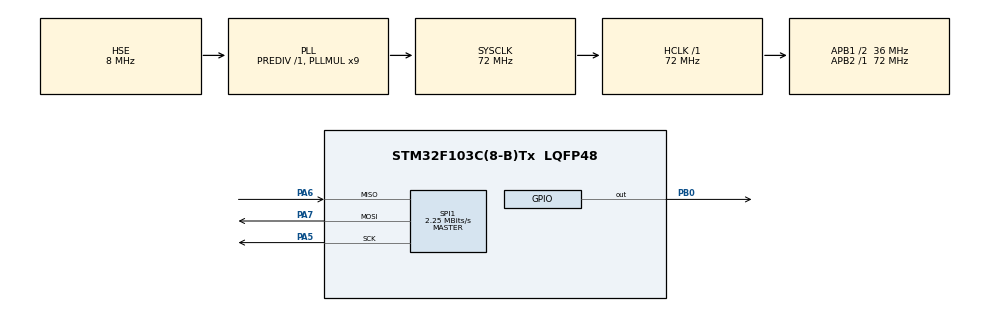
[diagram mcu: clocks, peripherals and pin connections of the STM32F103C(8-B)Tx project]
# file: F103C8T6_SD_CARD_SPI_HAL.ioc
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FATFS._MAX_SS=4096
FATFS._USE_LFN=1
Mcu.Family=STM32F1
Mcu.Name=STM32F103C(8-B)Tx
Mcu.Package=LQFP48
NVIC.PriorityGroup=NVIC_PRIORITYGROUP_4
PA13.Mode=Serial_Wire
PA13.Signal=SYS_JTMS-SWDIO
PA14.Mode=Serial_Wire
PA14.Signal=SYS_JTCK-SWCLK
PA5.Mode=Full_Duplex_Master
PA5.Signal=SPI1_SCK
PA6.Mode=Full_Duplex_Master
PA6.Signal=SPI1_MISO
PA7.Mode=Full_Duplex_Master
PA7.Signal=SPI1_MOSI
PB0.Signal=GPIO_Output
PD0-OSC_IN.Mode=HSE-External-Oscillator
PD0-OSC_IN.Signal=RCC_OSC_IN
PD1-OSC_OUT.Mode=HSE-External-Oscillator
PD1-OSC_OUT.Signal=RCC_OSC_OUT
ProjectManager.HeapSize=0x200
ProjectManager.StackSize=0x400
ProjectManager.TargetToolchain=STM32CubeIDE
RCC.AHBFreq_Value=72000000
RCC.APB1CLKDivider=RCC_HCLK_DIV2
RCC.APB1Freq_Value=36000000
RCC.APB1TimFreq_Value=72000000
RCC.APB2Freq_Value=72000000
RCC.APB2TimFreq_Value=72000000
RCC.HCLKFreq_Value=72000000
RCC.PLLMUL=RCC_PLL_MUL9
RCC.PLLSourceVirtual=RCC_PLLSOURCE_HSE
RCC.SYSCLKFreq_VALUE=72000000
RCC.SYSCLKSource=RCC_SYSCLKSOURCE_PLLCLK
RCC.USBFreq_Value=72000000
SPI1.BaudRatePrescaler=SPI_BAUDRATEPRESCALER_32
SPI1.CalculateBaudRate=2.25 MBits/s
SPI1.Direction=SPI_DIRECTION_2LINES
SPI1.Mode=SPI_MODE_MASTER
SPI1.VirtualType=VM_MASTER
VP_FATFS_VS_Generic.Mode=User_defined
board=custom

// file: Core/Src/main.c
/* USER CODE BEGIN Header */
/**
  ******************************************************************************
  * @file           : main.c
  * @brief          : Main program body
  ******************************************************************************
  * @attention
  *
  * Copyright (c) 2022 STMicroelectronics.
  * All rights reserved.
  *
  * This software is licensed under terms that can be found in the LICENSE file
  * in the root directory of this software component.
  * If no LICENSE file comes with this software, it is provided AS-IS.
  *
  ******************************************************************************
  */
/* USER CODE END Header */
#include "main.h"
#include "fatfs.h"
#include "fatfs_sd.h"
#include "string.h"
#include "stdio.h"

/* USER CODE BEGIN PD */
/*-----My Configs-----
   Pin_A5 : SPI_SCK
   Pin_A6 : SPI_MISO
   Pin_A7 : SPI_MOSI
   Pin_B0 : CS
 */
FATFS fs;
FATFS *pfs;
FIL fil;
FRESULT fres;
DWORD fre_clust;
uint32_t total, free;
UINT br, bw;  // File read/write count
#define BUFFER_SIZE 128
char buffer[BUFFER_SIZE];  // to store strings..

int i=0;

int bufsize (char *buf)
{
	int i=0;
	while (*buf++ != '\0') i++;
	return i;
}
/* USER CODE END PD */

 SPI_HandleTypeDef hspi1;

void SystemClock_Config(void);
static void MX_GPIO_Init(void);
static void MX_SPI1_Init(void);

int main(void)
{

  /* MCU Configuration--------------------------------------------------------*/

  /* Reset of all peripherals, Initializes the Flash interface and the Systick. */
  HAL_Init();

  /* Configure the system clock */
  SystemClock_Config();

  /* Initialize all configured peripherals */
  MX_GPIO_Init();
  MX_SPI1_Init();
  MX_FATFS_Init();
  /* USER CODE BEGIN 2 */
  HAL_Delay(500);

    /* Mount SD Card - SD Kartı Tak*/
    f_mount(&fs, "", 0);

    /* Check free space - SD Kartın Hafıza Kontrolü Yapılır */
    f_getfree("", &fre_clust, &pfs);
    total = (uint32_t)((pfs->n_fatent - 2) * pfs->csize * 0.5);
    free = (uint32_t)(fre_clust * pfs->csize * 0.5);

    /* Open file to write - SD Kart Yazmak İçin Açılır */
    f_open(&fil, "my_write.txt", FA_OPEN_ALWAYS | FA_READ | FA_WRITE);

    /* Açtığımız .txt uzantılı dosyaya yazma işlemleri*/
    f_puts("Hello my name's Mazlum Deniz Yuce\n", &fil);

    /* Close file - Açtığımız .txt uzantılı dosya kapatılır. */
    f_close(&fil);

    /* Open file to read - Dosya Okunmak İçin Açılır */
    f_open(&fil, "my_write.txt", FA_READ);

    //Dosyanın içindekeiler satır satır okunup buffer'a kaydedilir.
    f_gets(buffer, sizeof(buffer), &fil);

    /* Close file - Dosya kapatılır */
    f_close(&fil);

    /* Open file to write - SD Kart Yazmak İçin Açılır */
    f_open(&fil, "my_read.txt", FA_OPEN_ALWAYS | FA_READ | FA_WRITE);

    //Okuduğumuz karakterleri yeni açtığımız dosyaya yazarız.
    f_puts("Buffer Değeri ;\n", &fil);
    f_write(&fil, buffer, bufsize(buffer), &bw);

     /* Close file - Dosya kapatılır */
     f_close(&fil);

    /* Unmount SDCARD - SD Kart çıkartılır */
    f_mount(NULL, "", 1);

  /* USER CODE END 2 */

  /* Infinite loop */
  while (1)
  {

  }
}

void SystemClock_Config(void)
{
  RCC_OscInitTypeDef RCC_OscInitStruct = {0};
  RCC_ClkInitTypeDef RCC_ClkInitStruct = {0};

  /** Initializes the RCC Oscillators according to the specified parameters
  * in the RCC_OscInitTypeDef structure.
  */
  RCC_OscInitStruct.OscillatorType = RCC_OSCILLATORTYPE_HSE;
  RCC_OscInitStruct.HSEState = RCC_HSE_ON;
  RCC_OscInitStruct.HSEPredivValue = RCC_HSE_PREDIV_DIV1;
  RCC_OscInitStruct.HSIState = RCC_HSI_ON;
  RCC_OscInitStruct.PLL.PLLState = RCC_PLL_ON;
  RCC_OscInitStruct.PLL.PLLSource = RCC_PLLSOURCE_HSE;
  RCC_OscInitStruct.PLL.PLLMUL = RCC_PLL_MUL9;
  if (HAL_RCC_OscConfig(&RCC_OscInitStruct) != HAL_OK)
  {
    Error_Handler();
  }

  /** Initializes the CPU, AHB and APB buses clocks
  */
  RCC_ClkInitStruct.ClockType = RCC_CLOCKTYPE_HCLK|RCC_CLOCKTYPE_SYSCLK
                              |RCC_CLOCKTYPE_PCLK1|RCC_CLOCKTYPE_PCLK2;
  RCC_ClkInitStruct.SYSCLKSource = RCC_SYSCLKSOURCE_PLLCLK;
  RCC_ClkInitStruct.AHBCLKDivider = RCC_SYSCLK_DIV1;
  RCC_ClkInitStruct.APB1CLKDivider = RCC_HCLK_DIV2;
  RCC_ClkInitStruct.APB2CLKDivider = RCC_HCLK_DIV1;

  if (HAL_RCC_ClockConfig(&RCC_ClkInitStruct, FLASH_LATENCY_2) != HAL_OK)
  {
    Error_Handler();
  }
}

static void MX_SPI1_Init(void)
{

  /* SPI1 parameter configuration*/
  hspi1.Instance = SPI1;
  hspi1.Init.Mode = SPI_MODE_MASTER;
  hspi1.Init.Direction = SPI_DIRECTION_2LINES;
  hspi1.Init.DataSize = SPI_DATASIZE_8BIT;
  hspi1.Init.CLKPolarity = SPI_POLARITY_LOW;
  hspi1.Init.CLKPhase = SPI_PHASE_1EDGE;
  hspi1.Init.NSS = SPI_NSS_SOFT;
  hspi1.Init.BaudRatePrescaler = SPI_BAUDRATEPRESCALER_32;
  hspi1.Init.FirstBit = SPI_FIRSTBIT_MSB;
  hspi1.Init.TIMode = SPI_TIMODE_DISABLE;
  hspi1.Init.CRCCalculation = SPI_CRCCALCULATION_DISABLE;
  hspi1.Init.CRCPolynomial = 10;
  if (HAL_SPI_Init(&hspi1) != HAL_OK)
  {
    Error_Handler();
  }

}

static void MX_GPIO_Init(void)
{
  GPIO_InitTypeDef GPIO_InitStruct = {0};

  /* GPIO Ports Clock Enable */
  __HAL_RCC_GPIOD_CLK_ENABLE();
  __HAL_RCC_GPIOA_CLK_ENABLE();
  __HAL_RCC_GPIOB_CLK_ENABLE();

  /*Configure GPIO pin Output Level */
  HAL_GPIO_WritePin(GPIOB, GPIO_PIN_0, GPIO_PIN_RESET);

  /*Configure GPIO pin : PB0 */
  GPIO_InitStruct.Pin = GPIO_PIN_0;
  GPIO_InitStruct.Mode = GPIO_MODE_OUTPUT_PP;
  GPIO_InitStruct.Pull = GPIO_NOPULL;
  GPIO_InitStruct.Speed = GPIO_SPEED_FREQ_LOW;
  HAL_GPIO_Init(GPIOB, &GPIO_InitStruct);

}

void Error_Handler(void)
{
  __disable_irq();
  while (1)
  {
  }
}
